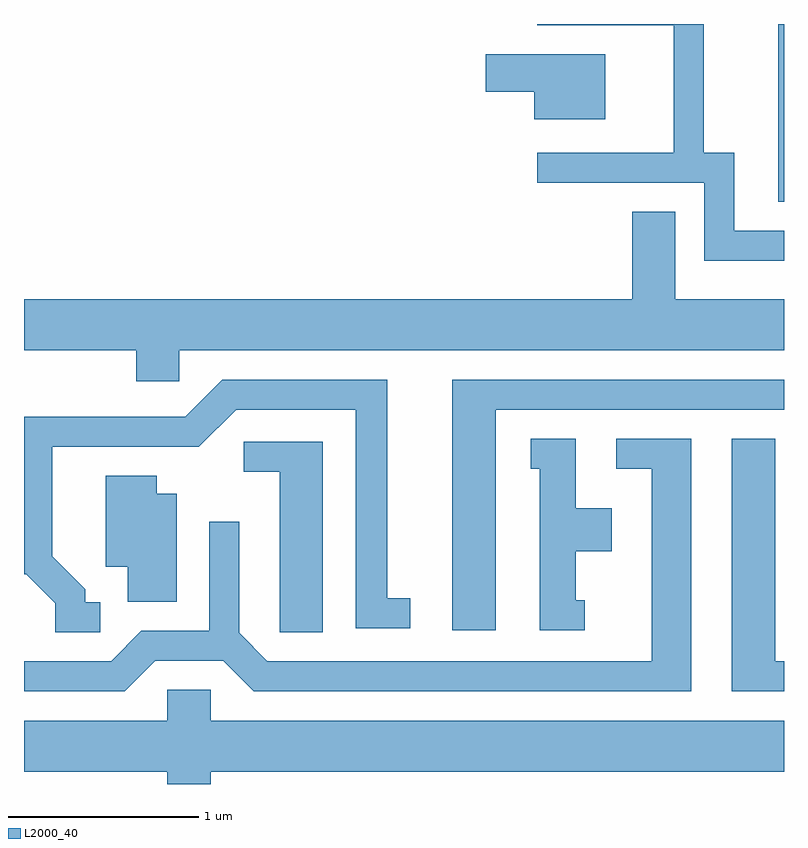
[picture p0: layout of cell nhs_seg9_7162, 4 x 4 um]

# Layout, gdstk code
import gdstk
lib = gdstk.Library(unit=1e-6, precision=1e-09)
def R(c, l, rs):  # rectangles x0, y0, x1, y1
    for r in rs: c.add(gdstk.rectangle(r[:2], r[2:], *l))
def P(c, l, *ps):  # polygons
    for p in ps: c.add(gdstk.Polygon(p, *l))
L2000_40 = (2000, 40)

nhs_seg9_7162 = lib.new_cell('nhs_seg9_7162')
R(nhs_seg9_7162, L2000_40, [(401.581,1981.496,401.611,1982.432)])
P(nhs_seg9_7162, L2000_40, [(401.611,1981.344),(401.349,1981.344),(401.349,1981.754),(401.189,1981.754),(401.189,1982.432),(400.313,1982.432),(400.313,1982.426),(401.031,1982.426),(401.031,1981.754),(400.313,1981.754),(400.313,1981.596),(401.191,1981.596),(401.191,1981.186),(401.611,1981.186)],
  [(400.669,1982.274),(400.041,1982.274),(400.041,1982.076),(400.296,1982.076),(400.296,1981.931),(400.669,1981.931)],
  [(398.429,1980.716),(401.611,1980.716),(401.611,1980.984),(401.039,1980.984),(401.039,1981.444),(400.811,1981.444),(400.811,1980.984),(397.611,1980.984),(397.611,1980.716),(398.201,1980.716),(398.201,1980.551),(398.429,1980.551)],
  [(400.094,1980.401),(401.611,1980.401),(401.611,1980.559),(399.866,1980.559),(399.866,1979.241),(400.094,1979.241)],
  [(398.013,1979.389),(397.934,1979.389),(397.934,1979.457),(397.759,1979.632),(397.759,1980.206),(398.532,1980.206),(398.727,1980.401),(399.356,1980.401),(399.356,1979.251),(399.643,1979.251),(399.643,1979.409),(399.524,1979.409),(399.524,1980.559),(398.654,1980.559),(398.459,1980.364),(397.611,1980.364),(397.611,1979.536),(397.624,1979.536),(397.776,1979.384),(397.776,1979.231),(398.013,1979.231)],
  [(401.611,1979.079),(401.564,1979.079),(401.564,1980.249),(401.336,1980.249),(401.336,1978.921),(401.611,1978.921)],
  [(398.302,1979.081),(398.659,1979.081),(398.819,1978.921),(401.124,1978.921),(401.124,1980.249),(400.728,1980.249),(400.728,1980.091),(400.916,1980.091),(400.916,1979.079),(398.892,1979.079),(398.744,1979.227),(398.744,1979.813),(398.586,1979.813),(398.586,1979.239),(398.229,1979.239),(398.069,1979.079),(397.611,1979.079),(397.611,1978.921),(398.142,1978.921)],
  [(400.563,1979.399),(400.514,1979.399),(400.514,1979.656),(400.704,1979.656),(400.704,1979.884),(400.514,1979.884),(400.514,1980.249),(400.278,1980.249),(400.278,1980.091),(400.326,1980.091),(400.326,1979.241),(400.563,1979.241)],
  [(399.184,1980.234),(398.768,1980.234),(398.768,1980.076),(398.956,1980.076),(398.956,1979.231),(399.184,1979.231)],
  [(398.414,1979.959),(398.309,1979.959),(398.309,1980.054),(398.041,1980.054),(398.041,1979.576),(398.156,1979.576),(398.156,1979.391),(398.414,1979.391)],
  [(398.594,1978.496),(401.611,1978.496),(401.611,1978.764),(398.594,1978.764),(398.594,1978.929),(398.366,1978.929),(398.366,1978.764),(397.611,1978.764),(397.611,1978.496),(398.366,1978.496),(398.366,1978.432),(398.594,1978.432)])

lib.write_gds('nhs_seg9_7162.gds')
